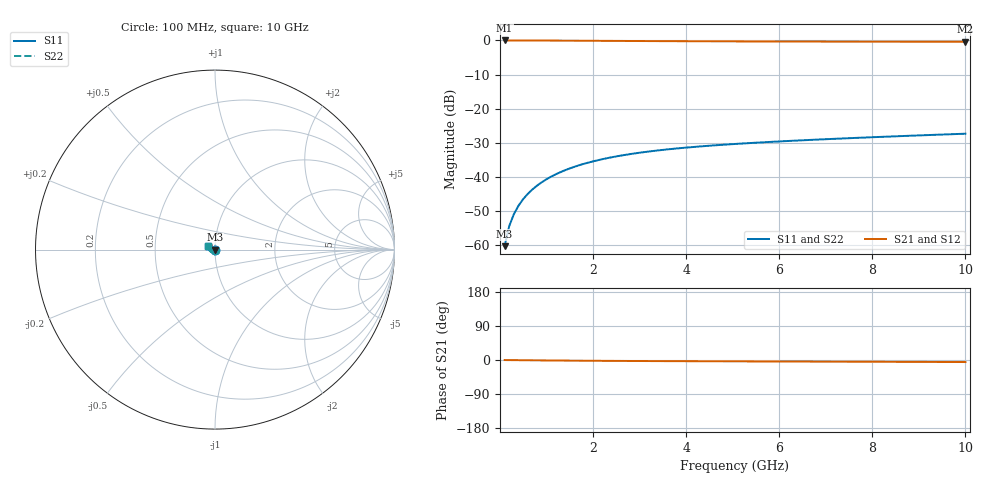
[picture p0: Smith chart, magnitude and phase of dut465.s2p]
! Touchstone file exported from HFSS 2024.1.0
!  File:  C:/UserFiles/LocalFiles/RDL_TSV_Batchsim/temp_TSV1_465_1779697945.aedt
!  Generated:  04:39:00 PM May 25, 2026
!  Design:  TSV1
!  Project:  temp_TSV1_465_1779697945
!  Setup:  Setup1
!  Solution:  Sweep
! Variables:
!  dtsv = 8.48um
!  hbump = 3um
!  htsv = 80.96um
!  lrdl = 252.1521522um
!  p = 40
!  p1 = 56.95um
!  t = 500um
!  trdl = 3um
!  wrdl = 24.89489489um
# GHz S MA R 50.000000
! Terminal data exported
! Port[1] = TSV22_T1
! Port[2] = TSV22_T2
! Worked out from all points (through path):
!   100 points, 100 MHz to 10 GHz, reference 50 ohm
!   highest |S21| = 0.00 dB at 100 MHz (marker M1); lowest = -0.4 dB at 10 GHz (marker M2)
!   lowest |S11| = -60.2 dB at 100 MHz (marker M3), VSWR 1.00, Z = 50 - j0.0959 ohm
!   |S11| at or under -10 dB: start of sweep to end of sweep
!   |S22| runs from -60.2 to -27.3 dB; largest |S21 - S12| = 8.4e-15
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0.1  0.0009729 -80.2  0.9998 -0.1  0.9998 -0.1  0.0009729 -80.2
! Gamma 0 0 0 0
! Port Impedance 50 0 50 0
0.2  0.001922 -88.1  0.9996 -0.2  0.9996 -0.2  0.001922 -88.1
0.3  0.002875 -92.2  0.9994 -0.4  0.9994 -0.4  0.002875 -92.2
0.4  0.003824 -95.4  0.9992 -0.5  0.9992 -0.5  0.003824 -95.4
0.5  0.004766 -98.2  0.9988 -0.6  0.9988 -0.6  0.004766 -98.2
0.6  0.005697 -100.7  0.9985 -0.7  0.9985 -0.7  0.005697 -100.7
0.7  0.006616 -103.1  0.998 -0.8  0.998 -0.8  0.006616 -103.1
0.8  0.007522 -105.4  0.9975 -0.9  0.9975 -0.9  0.007522 -105.4
0.9  0.008412 -107.7  0.9969 -1.0  0.9969 -1.0  0.008412 -107.7
1.1  0.01014 -112.0  0.9957 -1.3  0.9957 -1.3  0.01014 -112.0
1.4  0.0126 -118.1  0.9935 -1.5  0.9935 -1.5  0.0126 -118.1
1.6  0.01414 -122.0  0.992 -1.7  0.992 -1.7  0.01414 -122.0
1.8  0.0156 -125.8  0.9903 -1.9  0.9903 -1.9  0.0156 -125.8
2.1  0.01763 -131.1  0.9878 -2.1  0.9878 -2.1  0.01763 -131.1
2.5  0.02006 -137.8  0.9845 -2.4  0.9845 -2.4  0.02006 -137.8
2.9  0.02221 -144.0  0.9814 -2.6  0.9814 -2.6  0.02221 -144.0
3.4  0.02456 -151.0  0.9778 -2.9  0.9778 -2.9  0.02456 -151.0
4.2  0.02771 -160.9  0.9729 -3.2  0.9729 -3.2  0.02771 -160.9
5.1  0.03066 -170.4  0.9685 -3.6  0.9685 -3.6  0.03066 -170.4
6.7  0.03505 175.8  0.9631 -4.2  0.9631 -4.2  0.03506 175.8
8.4  0.03926 164.2  0.9594 -4.8  0.9594 -4.8  0.03926 164.2
10  0.04311 155.2  0.957 -5.4  0.957 -5.4  0.04311 155.3
